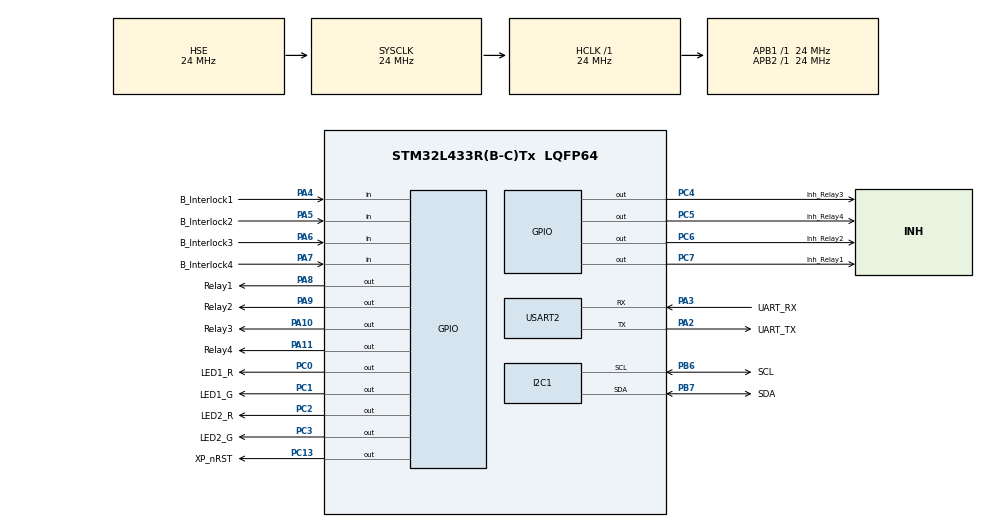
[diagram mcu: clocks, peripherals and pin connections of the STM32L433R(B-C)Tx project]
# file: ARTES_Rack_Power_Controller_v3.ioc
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FREERTOS.Tasks01=defaultTask,24,512,StartDefaultTask,Default,NULL,Dynamic,NULL,NULL
FREERTOS.configUSE_TICKLESS_IDLE=0
I2C1.Timing=0x00805C87
IWDG.Prescaler=IWDG_PRESCALER_256
Mcu.Family=STM32L4
Mcu.Name=STM32L433R(B-C)Tx
Mcu.Package=LQFP64
NVIC.PriorityGroup=NVIC_PRIORITYGROUP_4
NVIC.TIM6_DAC_IRQn=true\:15\:0\:false\:false\:true\:false\:false\:true\:true
NVIC.TimeBase=TIM6_DAC_IRQn
NVIC.TimeBaseIP=TIM6
NVIC.USART2_IRQn=true\:5\:0\:false\:false\:true\:true\:true\:true\:true
PA0.GPIO_Label=UART_CTS
PA0.Signal=USART2_CTS
PA1.GPIO_Label=UART_RTS
PA1.Signal=USART2_RTS
PA10.GPIO_Label=Relay3
PA10.GPIO_Speed=GPIO_SPEED_FREQ_HIGH
PA10.Signal=GPIO_Output
PA11.GPIO_Label=Relay4
PA11.GPIO_Speed=GPIO_SPEED_FREQ_HIGH
PA11.Signal=GPIO_Output
PA13\ (JTMS-SWDIO).GPIO_Label=SWDIO
PA13\ (JTMS-SWDIO).Signal=SYS_JTMS-SWDIO
PA14\ (JTCK-SWCLK).GPIO_Label=SWCLK
PA14\ (JTCK-SWCLK).Signal=SYS_JTCK-SWCLK
PA2.GPIO_Label=UART_TX
PA2.Mode=Asynchronous
PA2.Signal=USART2_TX
PA3.GPIO_Label=UART_RX
PA3.Mode=Asynchronous
PA3.Signal=USART2_RX
PA4.GPIO_Label=B_Interlock1
PA4.GPIO_PuPd=GPIO_NOPULL
PA4.Signal=GPIO_Input
PA5.GPIO_Label=B_Interlock2
PA5.GPIO_PuPd=GPIO_NOPULL
PA5.Signal=GPIO_Input
PA6.GPIO_Label=B_Interlock3
PA6.GPIO_PuPd=GPIO_NOPULL
PA6.Signal=GPIO_Input
PA7.GPIO_Label=B_Interlock4
PA7.GPIO_PuPd=GPIO_NOPULL
PA7.Signal=GPIO_Input
PA8.GPIO_Label=Relay1
PA8.GPIO_Speed=GPIO_SPEED_FREQ_HIGH
PA8.PinState=GPIO_PIN_RESET
PA8.Signal=GPIO_Output
PA9.GPIO_Label=Relay2
PA9.GPIO_Speed=GPIO_SPEED_FREQ_HIGH
PA9.Signal=GPIO_Output
PB3\ (JTDO-TRACESWO).GPIO_Label=SWO
PB3\ (JTDO-TRACESWO).Signal=SYS_JTDO-SWO
PB6.GPIO_Label=SCL
PB6.Mode=I2C
PB6.Signal=I2C1_SCL
PB7.GPIO_Label=SDA
PB7.Mode=I2C
PB7.Signal=I2C1_SDA
PC0.GPIO_Label=LED1_R
PC0.Signal=GPIO_Output
PC1.GPIO_Label=LED1_G
PC1.Signal=GPIO_Output
PC13.GPIO_Label=XP_nRST
PC13.PinState=GPIO_PIN_SET
PC13.Signal=GPIO_Output
PC2.GPIO_Label=LED2_R
PC2.Signal=GPIO_Output
PC3.GPIO_Label=LED2_G
PC3.Signal=GPIO_Output
PC4.GPIO_Label=Inh_Relay3
PC4.GPIO_Speed=GPIO_SPEED_FREQ_HIGH
PC4.Signal=GPIO_Output
PC5.GPIO_Label=Inh_Relay4
PC5.GPIO_Speed=GPIO_SPEED_FREQ_HIGH
PC5.Signal=GPIO_Output
PC6.GPIO_Label=Inh_Relay2
PC6.GPIO_Speed=GPIO_SPEED_FREQ_HIGH
PC6.Signal=GPIO_Output
PC7.GPIO_Label=Inh_Relay1
PC7.GPIO_Speed=GPIO_SPEED_FREQ_HIGH
PC7.Signal=GPIO_Output
PH0-OSC_IN\ (PH0).Mode=HSE-External-Oscillator
PH0-OSC_IN\ (PH0).Signal=RCC_OSC_IN
PH1-OSC_OUT\ (PH1).Mode=HSE-External-Oscillator
PH1-OSC_OUT\ (PH1).Signal=RCC_OSC_OUT
ProjectManager.HeapSize=0x200
ProjectManager.StackSize=0x400
ProjectManager.TargetToolchain=STM32CubeIDE
RCC.ADCFreq_Value=96000000
RCC.AHBFreq_Value=24000000
RCC.APB1Freq_Value=24000000
RCC.APB1TimFreq_Value=24000000
RCC.APB2Freq_Value=24000000
RCC.APB2TimFreq_Value=24000000
RCC.CortexFreq_Value=24000000
RCC.HCLKFreq_Value=24000000
RCC.HSE_VALUE=24000000
RCC.HSI48_VALUE=48000000
RCC.HSI_VALUE=16000000
RCC.LSE_VALUE=32768
RCC.MSI_VALUE=4000000
RCC.PLLSourceVirtual=RCC_PLLSOURCE_HSE
RCC.SYSCLKFreq_VALUE=24000000
RCC.SYSCLKSource=RCC_SYSCLKSOURCE_HSE
RCC.USBFreq_Value=96000000
RCC.VCOOutputFreq_Value=192000000
USART2.SwapParam=ADVFEATURE_SWAP_ENABLE
USART2.VirtualMode-Asynchronous=VM_ASYNC
VP_FREERTOS_VS_CMSIS_V2.Mode=CMSIS_V2
VP_IWDG_VS_IWDG.Mode=IWDG_Activate
VP_SYS_VS_tim6.Mode=TIM6
board=custom

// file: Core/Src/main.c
/* USER CODE BEGIN Header */
/**
  ******************************************************************************
  * @file           : main.c
  * @brief          : Main program body
  ******************************************************************************
  * @attention
  *
  * Copyright (c) 2026 STMicroelectronics.
  * All rights reserved.
  *
  * This software is licensed under terms that can be found in the LICENSE file
  * in the root directory of this software component.
  * If no LICENSE file comes with this software, it is provided AS-IS.
  *
  ******************************************************************************
  */
/* USER CODE END Header */
#include "main.h"
#include "cmsis_os.h"
#include "i2c.h"
#include "iwdg.h"
#include "usart.h"
#include "gpio.h"

/* USER CODE BEGIN Includes */

#include "artes_rpc_scpi.h"

/* USER CODE END Includes */

void SystemClock_Config(void);
void MX_FREERTOS_Init(void);
/* USER CODE BEGIN PFP */
void led_init(void);
void safe_printf(const char *format, ...);
/* USER CODE END PFP */

int main(void)
{

  /* MCU Configuration--------------------------------------------------------*/

  /* Reset of all peripherals, Initializes the Flash interface and the Systick. */
  HAL_Init();

  /* Configure the system clock */
  SystemClock_Config();

  /* Initialize all configured peripherals */
  MX_GPIO_Init();
  MX_USART2_UART_Init();
  MX_I2C1_Init();
  led_init();
  //Turn LED running red then later deep in the code green to show its running.
  set_led_state(LED_RUNNING, LED_STATE_ON);
  set_led_color(LED_RUNNING, LED_COLOR_RED);
//XXX:  MX_IWDG_Init();
  /* USER CODE BEGIN 2 */
  // Pulse XPORT Reset line low for .2 second on powerup or NRST
  // HAL_Delay is safe before osKernelStart()
  // Datasheet says nRST pulse triggers internal 200ms reset. Nothing
  // on minimum external pulse width, so ...
  /*
  HAL_GPIO_WritePin(XPORT_RST_GRP, XP_nRST_Pin, GPIO_PIN_RESET);
  HAL_Delay(200);
  HAL_GPIO_WritePin(XPORT_RST_GRP, XP_nRST_Pin, GPIO_PIN_SET);
  led_init();

  HAL_Delay(1000);
  HAL_GPIO_WritePin (LED_GPIO_GRP, LED2_G_Pin, GPIO_PIN_SET);

  HAL_GPIO_WritePin(Relay1_GPIO_Port, Relay1_Pin, GPIO_PIN_SET);
  HAL_GPIO_WritePin(Relay2_GPIO_Port, Relay2_Pin, GPIO_PIN_SET);
  HAL_GPIO_WritePin(Relay3_GPIO_Port, Relay3_Pin, GPIO_PIN_SET);
  HAL_GPIO_WritePin(Relay4_GPIO_Port, Relay4_Pin, GPIO_PIN_SET);

  HAL_Delay(1000);
  HAL_GPIO_WritePin (LED_GPIO_GRP, LED2_G_Pin, GPIO_PIN_RESET);

  HAL_GPIO_WritePin(Relay1_GPIO_Port, Relay1_Pin, GPIO_PIN_RESET);
  HAL_GPIO_WritePin(Relay2_GPIO_Port, Relay2_Pin, GPIO_PIN_RESET);
  HAL_GPIO_WritePin(Relay3_GPIO_Port, Relay3_Pin, GPIO_PIN_RESET);
  HAL_GPIO_WritePin(Relay4_GPIO_Port, Relay4_Pin, GPIO_PIN_RESET);

  //HAL_GPIO_TogglePin(GPIOA, GPIO_PIN_3);
  /* USER CODE END 2 */
/*
  /* Init scheduler */
  osKernelInitialize();  /* Call init function for freertos objects (in cmsis_os2.c) */
  MX_FREERTOS_Init();

  /* Start scheduler */
  osKernelStart();

  /* We should never get here as control is now taken by the scheduler */

  /* Infinite loop */
  while (1)
  {

  }
}

void SystemClock_Config(void)
{
  RCC_OscInitTypeDef RCC_OscInitStruct = {0};
  RCC_ClkInitTypeDef RCC_ClkInitStruct = {0};

  /** Configure the main internal regulator output voltage
  */
  if (HAL_PWREx_ControlVoltageScaling(PWR_REGULATOR_VOLTAGE_SCALE1) != HAL_OK)
  {
    Error_Handler();
  }

  /** Initializes the RCC Oscillators according to the specified parameters
  * in the RCC_OscInitTypeDef structure.
  */
  RCC_OscInitStruct.OscillatorType = RCC_OSCILLATORTYPE_LSI|RCC_OSCILLATORTYPE_HSE;
  RCC_OscInitStruct.HSEState = RCC_HSE_ON;
  RCC_OscInitStruct.LSIState = RCC_LSI_ON;
  RCC_OscInitStruct.PLL.PLLState = RCC_PLL_NONE;
  if (HAL_RCC_OscConfig(&RCC_OscInitStruct) != HAL_OK)
  {
    Error_Handler();
  }

  /** Initializes the CPU, AHB and APB buses clocks
  */
  RCC_ClkInitStruct.ClockType = RCC_CLOCKTYPE_HCLK|RCC_CLOCKTYPE_SYSCLK
                              |RCC_CLOCKTYPE_PCLK1|RCC_CLOCKTYPE_PCLK2;
  RCC_ClkInitStruct.SYSCLKSource = RCC_SYSCLKSOURCE_HSE;
  RCC_ClkInitStruct.AHBCLKDivider = RCC_SYSCLK_DIV1;
  RCC_ClkInitStruct.APB1CLKDivider = RCC_HCLK_DIV1;
  RCC_ClkInitStruct.APB2CLKDivider = RCC_HCLK_DIV1;

  if (HAL_RCC_ClockConfig(&RCC_ClkInitStruct, FLASH_LATENCY_1) != HAL_OK)
  {
    Error_Handler();
  }
}

void safe_printf(const char *format, ...);
led_config_t led_sys, led_test;

void led_init (void)
{
    led_sys.color = LED_COLOR_GREEN;
    led_sys.state = LED_STATE_OFF;
    led_sys.blink_half_period_ms = 1000;
    led_sys.counter = 1;

    led_test.color = LED_COLOR_GREEN;
    led_test.state = LED_STATE_OFF;
    led_test.blink_half_period_ms = 1000;
    led_test.counter = 1;
}

void set_led_freq(led_types_t led_type, uint32_t val)
{
    if (LED_RUNNING == led_type)
    {
        led_test.blink_half_period_ms = val/2;
        led_test.counter = 1;
    }
    if (LED_PASS_FAIL == led_type)
    {
        led_sys.blink_half_period_ms = val/2;
        led_sys.counter = 1;
    }
}

void set_led_state(led_types_t led_type, led_state_t state)
{
    if (LED_RUNNING == led_type)
    {
        // SAFETY: Clear both pins first to prevent orange bleeding
        HAL_GPIO_WritePin(LED_GPIO_GRP, LED2_G_Pin | LED2_R_Pin, GPIO_PIN_RESET);

        led_test.state = state;
        if (LED_STATE_ON == led_test.state)
        {
            if (LED_COLOR_GREEN == led_test.color || LED_COLOR_YELLOW == led_test.color)
                HAL_GPIO_WritePin (LED_GPIO_GRP, LED2_G_Pin, GPIO_PIN_SET);
            if (LED_COLOR_RED == led_test.color || LED_COLOR_YELLOW == led_test.color)
                HAL_GPIO_WritePin (LED_GPIO_GRP, LED2_R_Pin, GPIO_PIN_SET);
        }
    }

    if (LED_PASS_FAIL == led_type)
    {
        // SAFETY: Clear both pins first
        HAL_GPIO_WritePin(LED_GPIO_GRP, LED1_G_Pin | LED1_R_Pin, GPIO_PIN_RESET);

        led_sys.state = state;
        if (LED_STATE_ON == led_sys.state)
        {
            // FIXED: Now correctly checks led_sys.color instead of led_test.color
            if (LED_COLOR_GREEN == led_sys.color || LED_COLOR_YELLOW == led_sys.color)
                HAL_GPIO_WritePin (LED_GPIO_GRP, LED1_G_Pin, GPIO_PIN_SET);
            if (LED_COLOR_RED == led_sys.color || LED_COLOR_YELLOW == led_sys.color)
                HAL_GPIO_WritePin (LED_GPIO_GRP, LED1_R_Pin, GPIO_PIN_SET);
        }
    }
}

void set_led_color(led_types_t led_type, led_color_t color)
{
    if (LED_RUNNING == led_type)
    {
        // SAFETY: Reset pins to prevent color mixing
        HAL_GPIO_WritePin(LED_GPIO_GRP, LED2_G_Pin | LED2_R_Pin, GPIO_PIN_RESET);
        led_test.color = color;
        if (LED_STATE_ON == led_test.state)
        {
            if (LED_COLOR_GREEN == led_test.color || LED_COLOR_YELLOW == led_test.color)
                HAL_GPIO_WritePin (LED_GPIO_GRP, LED2_G_Pin, GPIO_PIN_SET);
            if (LED_COLOR_RED == led_test.color || LED_COLOR_YELLOW == led_test.color)
                HAL_GPIO_WritePin (LED_GPIO_GRP, LED2_R_Pin, GPIO_PIN_SET);
        }
    }
    if (LED_PASS_FAIL == led_type)
    {
        // SAFETY: Reset pins to prevent color mixing
        HAL_GPIO_WritePin(LED_GPIO_GRP, LED1_G_Pin | LED1_R_Pin, GPIO_PIN_RESET);
        led_sys.color = color;
        if (LED_STATE_ON == led_sys.state)
        {
            if (LED_COLOR_GREEN == led_sys.color || LED_COLOR_YELLOW == led_sys.color)
                HAL_GPIO_WritePin (LED_GPIO_GRP, LED1_G_Pin, GPIO_PIN_SET);
            if (LED_COLOR_RED == led_sys.color || LED_COLOR_YELLOW == led_sys.color)
                HAL_GPIO_WritePin (LED_GPIO_GRP, LED1_R_Pin, GPIO_PIN_SET);
        }
    }
}

void set_relay_state(relay_types_t relay, relay_state_t state)
{
    // Convert your software state to a hardware STM32 state
    GPIO_PinState pin_state = (state == RELAY_STATE_ON) ? GPIO_PIN_SET : GPIO_PIN_RESET;

    switch(relay)
    {
        // --- Main Power Relays ---
        case RELAY_AC1:
            HAL_GPIO_WritePin(Relay1_GPIO_Port, Relay1_Pin, pin_state);
            break;

        case RELAY_AC2:
            HAL_GPIO_WritePin(Relay2_GPIO_Port, Relay2_Pin, pin_state);
            break;

        case RELAY_ITA:
            HAL_GPIO_WritePin(Relay3_GPIO_Port, Relay3_Pin, pin_state);
            break;

        case RELAY_3PHASE:
            HAL_GPIO_WritePin(Relay4_GPIO_Port, Relay4_Pin, pin_state);
            break;

        // --- Safety Inhibit Relays ---
        case RELAY_INH1:
            HAL_GPIO_WritePin(Inh_Relay1_GPIO_Port, Inh_Relay1_Pin, pin_state);
            break;

        case RELAY_INH2:
            HAL_GPIO_WritePin(Inh_Relay2_GPIO_Port, Inh_Relay2_Pin, pin_state);
            break;

        case RELAY_INH3:
            HAL_GPIO_WritePin(Inh_Relay3_GPIO_Port, Inh_Relay3_Pin, pin_state);
            break;

        case RELAY_INH4:
            HAL_GPIO_WritePin(Inh_Relay4_GPIO_Port, Inh_Relay4_Pin, pin_state);
            break;

        // --- The "ALL" Command ---
        case RELAY_ALL:
            // Apply the requested state to every single relay simultaneously
            HAL_GPIO_WritePin(Relay1_GPIO_Port, Relay1_Pin, pin_state);
            HAL_GPIO_WritePin(Relay2_GPIO_Port, Relay2_Pin, pin_state);
            HAL_GPIO_WritePin(Relay3_GPIO_Port, Relay3_Pin, pin_state);
            HAL_GPIO_WritePin(Relay4_GPIO_Port, Relay4_Pin, pin_state);
            HAL_GPIO_WritePin(Inh_Relay1_GPIO_Port, Inh_Relay1_Pin, pin_state);
            HAL_GPIO_WritePin(Inh_Relay2_GPIO_Port, Inh_Relay2_Pin, pin_state);
            HAL_GPIO_WritePin(Inh_Relay3_GPIO_Port, Inh_Relay3_Pin, pin_state);
            HAL_GPIO_WritePin(Inh_Relay4_GPIO_Port, Inh_Relay4_Pin, pin_state);
            break;

        default:
            // Fail safely if an unknown relay tag is passed
            break;
    }
}

relay_state_t get_relay_state(relay_types_t relay)
{
    GPIO_PinState pin_state = GPIO_PIN_RESET;

    switch(relay)
    {
        case RELAY_AC1: pin_state = HAL_GPIO_ReadPin(Relay1_GPIO_Port, Relay1_Pin); break;
        case RELAY_AC2: pin_state = HAL_GPIO_ReadPin(Relay2_GPIO_Port, Relay2_Pin); break;
        case RELAY_ITA: pin_state = HAL_GPIO_ReadPin(Relay3_GPIO_Port, Relay3_Pin); break;
        case RELAY_3PHASE: pin_state = HAL_GPIO_ReadPin(Relay4_GPIO_Port, Relay4_Pin); break;
        case RELAY_INH1: pin_state = HAL_GPIO_ReadPin(Inh_Relay1_GPIO_Port, Inh_Relay1_Pin); break;
        case RELAY_INH2: pin_state = HAL_GPIO_ReadPin(Inh_Relay2_GPIO_Port, Inh_Relay2_Pin); break;
        case RELAY_INH3: pin_state = HAL_GPIO_ReadPin(Inh_Relay3_GPIO_Port, Inh_Relay3_Pin); break;
        case RELAY_INH4: pin_state = HAL_GPIO_ReadPin(Inh_Relay4_GPIO_Port, Inh_Relay4_Pin); break;
        default: return RELAY_STATE_OFF;
    }

    return (pin_state == GPIO_PIN_SET) ? RELAY_STATE_ON : RELAY_STATE_OFF;
}
/* USER CODE END 4 */

void HAL_TIM_PeriodElapsedCallback(TIM_HandleTypeDef *htim)
{
  /* USER CODE BEGIN Callback 0 */
    if (htim->Instance == TIM6)
    {
        //SYSTEM LED
        if (LED_STATE_BLINK == led_sys.state)     // Current state (off/on/blink)
        {
            if (--led_sys.counter == 0)
            {
                if (led_sys.color == LED_COLOR_GREEN || led_sys.color == LED_COLOR_YELLOW)
                {
                    HAL_GPIO_TogglePin(LED_GPIO_GRP, LED1_G_Pin);
                }
                if (led_sys.color == LED_COLOR_RED || led_sys.color == LED_COLOR_YELLOW)
                {
                    HAL_GPIO_TogglePin(LED_GPIO_GRP, LED1_R_Pin);
                }

                led_sys.counter = led_sys.blink_half_period_ms ;
            }
        }
    }

  /* USER CODE END Callback 0 */
  if (htim->Instance == TIM6)
  {
    HAL_IncTick();
  }
}

void Error_Handler(void)
{
  __disable_irq();
  while (1)
  {
  }
}

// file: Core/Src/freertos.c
/* USER CODE BEGIN Header */
/**
  ******************************************************************************
  * File Name          : freertos.c
  * Description        : Code for freertos applications
  ******************************************************************************
  * @attention
  *
  * Copyright (c) 2026 STMicroelectronics.
  * All rights reserved.
  *
  * This software is licensed under terms that can be found in the LICENSE file
  * in the root directory of this software component.
  * If no LICENSE file comes with this software, it is provided AS-IS.
  *
  ******************************************************************************
  */
/* USER CODE END Header */

#include "FreeRTOS.h"
#include "task.h"
#include "main.h"
#include "cmsis_os.h"

/* USER CODE BEGIN Includes */

#include <stdio.h>
#include <stdbool.h>
#include <string.h>
#include <stdarg.h>
#include <queue.h>
#include "artes_rpc_scpi.h"
#include "cli.h"

/* USER CODE END Includes */

/* USER CODE BEGIN PD */

#define RX_BUF_SIZE          256

/* USER CODE END PD */

/* USER CODE BEGIN Variables */
osMutexId_t serial_tx_mutexHandle = NULL;
osMessageQueueId_t UartRxQueueHandle = NULL;

//extern osMutexId_t serial_tx_mutexHandle;
//extern osThreadId_t SysHealthTaskHandle;
//extern osThreadId_t LED1_RHandle;
//extern osThreadId_t LED1_GHandle;
//extern osThreadId_t CliTaskHandle;

extern UART_HandleTypeDef huart2;
extern IWDG_HandleTypeDef hiwdg;
void safe_printf(const char *format, ...);

/* USER CODE END Variables */
/* Definitions for defaultTask */
osThreadId_t defaultTaskHandle;
const osThreadAttr_t defaultTask_attributes = {
  .name = "defaultTask",
  .stack_size = 512 * 4,
  .priority = (osPriority_t) osPriorityNormal,
};

/* USER CODE BEGIN FunctionPrototypes */

// These functions found in iwdg.c
void     update_health_array (int task_number);
void     clear_health_array  (void);
void     refresh_watchdog    (void);
bool     test_health_array   (void);
int      get_number_of_tasks (void);
uint32_t get_iwdg_timeout    (void);

/* USER CODE END FunctionPrototypes */

void StartDefaultTask(void *argument);

void MX_FREERTOS_Init(void); /* (MISRA C 2004 rule 8.1) */

void MX_FREERTOS_Init(void) {
  /* USER CODE BEGIN Init */
    SCPI_Init(&scpi_context,
            scpi_commands,
            &scpi_interface,
            scpi_units_def,
            SCPI_IDN1, SCPI_IDN2, SCPI_IDN3, SCPI_IDN4,
            scpi_input_buffer, SCPI_INPUT_BUFFER_LENGTH,
            scpi_error_queue_data, SCPI_ERROR_QUEUE_SIZE);

  /* USER CODE END Init */

  /* USER CODE BEGIN RTOS_MUTEX */
  /* add mutexes, ... */
    // CMSIS V2 Mutex Creation
    serial_tx_mutexHandle = osMutexNew(NULL);

    if (serial_tx_mutexHandle == NULL) {
        // Handle creation failure (optional but recommended)
    }
  /* USER CODE END RTOS_MUTEX */

  /* USER CODE BEGIN RTOS_QUEUES */
  /* add queues, ... */
    // CMSIS V2 Queue Creation (10 items, 1 byte each)
    UartRxQueueHandle = osMessageQueueNew(10, sizeof(uint8_t), NULL);

    if (UartRxQueueHandle == NULL) {
        // Handle creation failure
    }
  /* USER CODE END RTOS_QUEUES */

  /* Create the thread(s) */
  /* creation of defaultTask */
  defaultTaskHandle = osThreadNew(StartDefaultTask, NULL, &defaultTask_attributes);

}

void StartDefaultTask(void *argument)
{
  /* USER CODE BEGIN StartDefaultTask */
	//AddedByAustin
		uint8_t rx_byte;
  /* Infinite loop */
  for(;;)
  {
  	//Set LED to green to indicate we got here and waiting for interrupt.
  	set_led_color(LED_RUNNING, LED_COLOR_GREEN);

	  if (osMessageQueueGet(UartRxQueueHandle, &rx_byte, NULL, 1000) == osOK)
	        {
		  	  //safe_printf("RTOS got byte: %c\r\n", rx_byte);

	            // We got a byte! Hand it to the CLI engine to process.

		  	  	  //Make LED red so that if steps after this fail, it stays red and indicates failure to return to set led green above.
		  	  	set_led_color(LED_RUNNING, LED_COLOR_RED);

	        	cli_process_byte(rx_byte);

	            //set_led_state(LED_RUNNING, LED_STATE_ON);
	            //HAL_Delay(200);
	            //set_led_state(LED_RUNNING, LED_STATE_ON);
	        }
	        //Pet the watchdog timer
	        //safe_printf("About to pet dog \r\n");
	        HAL_IWDG_Refresh(&hiwdg);
  }
  /* USER CODE END StartDefaultTask */
}

/* USER CODE BEGIN Application */

/**
 * @brief Thread-safe printf-like function for serial output.
 *        Protects transmission with serial_tx_mutex to prevent interleaving
 *        from higher-priority tasks.
 *
 * @param format Format string (printf-style).
 * @param ... Variable arguments for formatting.
 */
void safe_printf(const char *format, ...) {
    // 1. GUARD: Don't try to print if the UART hardware hasn't booted up yet!
    if (huart2.Instance == NULL) return;

    char buffer[256];
    va_list args;
    int len;

    // 2. GUARD: Is it safe to use the Mutex?
    // __get_IPSR() == 0 means we are running normally (NOT inside an interrupt).
    // serial_tx_mutexHandle != NULL means the RTOS has successfully created the mutex.
    bool safe_to_block = (__get_IPSR() == 0) && (serial_tx_mutexHandle != NULL);

    // Only lock the Mutex if we are safe in a thread
    if (safe_to_block) {
        osMutexAcquire(serial_tx_mutexHandle, osWaitForever);
    }

    // Format the string
    va_start(args, format);
    len = vsnprintf(buffer, sizeof(buffer), format, args);
    va_end(args);

    // --- HARDWARE-LEVEL TRANSMIT ---
    for (int i = 0; i < len; i++) {
        // Wait until the Transmit Data Register is empty and ready
        while (!__HAL_UART_GET_FLAG(&huart2, UART_FLAG_TXE)) {}

        // Push the character directly into the hardware register
        huart2.Instance->TDR = buffer[i];
    }
    // -----------------------------------

    // Unlock the Mutex
    if (safe_to_block) {
        osMutexRelease(serial_tx_mutexHandle);
    }
}

/**
 * @brief Print current stack high water mark for all tasks.
 *        High water mark = minimum free stack bytes ever seen.
 */
void report_stack_usage(void)
{
    safe_printf("=== Stack Usage (High Water Mark in bytes) ===\r\n");

    // Query the only task that currently exists in the project
    safe_printf("defaultTask   : %u\r\n", uxTaskGetStackHighWaterMark(defaultTaskHandle) * 4);

    safe_printf("============================================\r\n");
}
/* USER CODE END Application */
